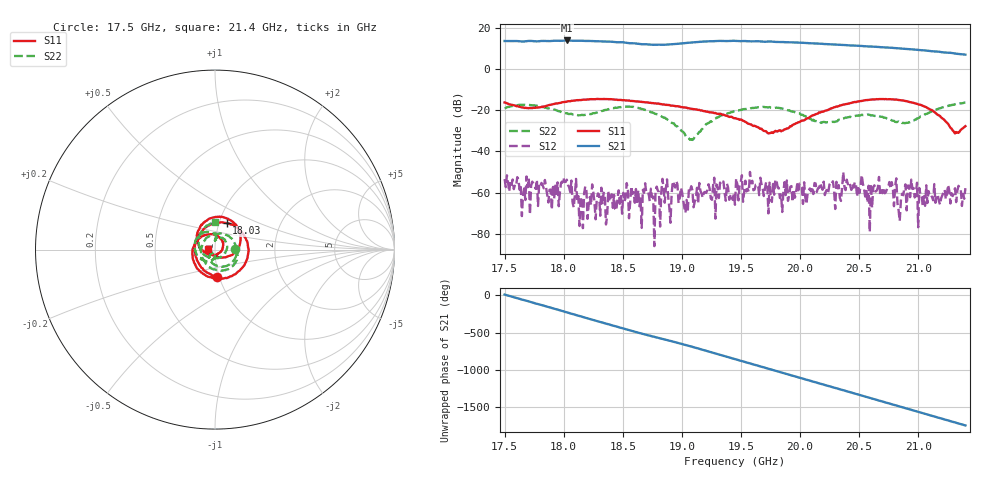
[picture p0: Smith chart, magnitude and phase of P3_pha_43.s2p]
!Created with skrf (http://scikit-rf.org).
# GHz S RI R 50.0
!freq ReS11 ImS11 ReS21 ImS21 ReS12 ImS12 ReS22 ImS22
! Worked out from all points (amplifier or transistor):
!   401 points, 17.5 GHz to 21.4 GHz, reference 50 ohm
!   highest |S21| = 13.9 dB at 18.03 GHz (marker M1)
!   |S21| within 3 dB of that: start of sweep to 20.61 GHz
!   unconditionally stable (mu >= 1): start of sweep to end of sweep
!   at 18.14 GHz: K = 125.23, MAG = 13.9 dB, |S12| = -62.0 dB
!   at 19.45 GHz: K = 203.38, MAG = 13.7 dB, |S12| = -66.0 dB
!   at 21.4 GHz: K = 170.80, MAG = 7.1 dB, |S12| = -57.9 dB
!   S11 on the Smith chart (normalised r, x): 17.5 GHz: 0.97, -0.31; 18.03 GHz: 1.09, +0.33; 21.4 GHz: 0.92, +0.01
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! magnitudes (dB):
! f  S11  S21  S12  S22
! 17.5 GHz  -16.2  13.6  -53.5  -19.1
! 17.66 GHz  -18.6  13.4  -61.3  -17.4
! 18.03 GHz  -15.9  13.9  -53.8  -21.5
! 18.15 GHz  -15.0  13.7  -64.1  -22.3
! 18.24 GHz  -14.7  13.6  -56.1  -21.7
! 18.81 GHz  -16.8  11.8  -59.7  -22.6
! 18.86 GHz  -17.3  11.8  -65.0  -23.6
! 18.9 GHz  -17.7  12.0  -74.7  -25.7
! 18.94 GHz  -18.0  12.1  -57.6  -27.3
! 19.03 GHz  -18.7  12.6  -69.9  -32.3
! 19.08 GHz  -19.3  12.9  -56.9  -34.1
! 19.45 GHz  -23.9  13.7  -66.0  -20.5
! 19.6 GHz  -27.4  13.4  -54.3  -18.9
! 19.75 GHz  -31.1  13.4  -62.7  -18.7
! 20.1 GHz  -22.6  12.5  -57.2  -25.0
! 20.51 GHz  -15.6  11.2  -57.0  -22.5
! 20.59 GHz  -14.9  10.9  -79.2  -22.3
! 20.76 GHz  -14.7  10.4  -54.9  -24.4
! 20.84 GHz  -15.1  10.0  -73.8  -26.0
! 20.93 GHz  -16.1  9.6  -62.3  -25.8
! 21.02 GHz  -17.4  9.2  -61.2  -23.0
! 21.4 GHz  -27.8  7.0  -57.9  -16.3
